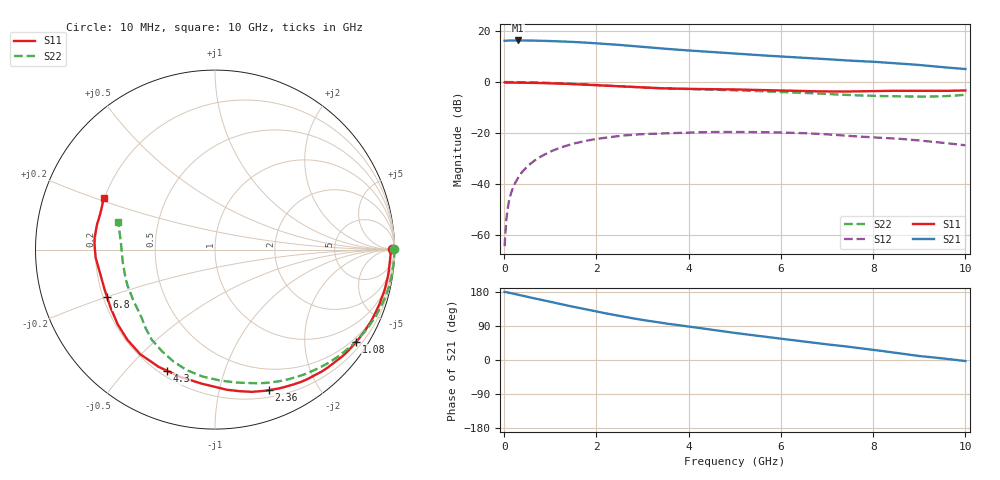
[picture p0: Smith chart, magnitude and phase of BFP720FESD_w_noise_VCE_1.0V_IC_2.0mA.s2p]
! Infineon Technologies  Discrete & RF Semiconductors
! BFP720FESD
! VCE =  1.0 V,  IC =  2.0 mA
! Common Emitter S-Parameters:  Jan 2016
# GHz  S  MA  R  50
!  f  S11  S21  S12  S22
! GHz  MAG  ANG  MAG  ANG  MAG  ANG  MAG  ANG
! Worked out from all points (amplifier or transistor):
!   233 points, 10 MHz to 10 GHz, reference 50 ohm
!   highest |S21| = 16.3 dB at 300 MHz (marker M1)
!   |S21| within 3 dB of that: start of sweep to 3.318 GHz
!   unconditionally stable (mu >= 1): 8.83 GHz to end of sweep
!   at 200 MHz: K = 0.00, MSG = 28.7 dB, |S12| = -41.1 dB
!   at 1.74 GHz: K = 0.11, MSG = 19.4 dB, |S12| = -23.2 dB
!   at 10 GHz: K = 1.44, MAG = 11.0 dB, |S12| = -24.8 dB
!   lowest NFmin = 0.41 dB at 450 MHz
!   S11 on the Smith chart (normalised r, x): 10 MHz: open; 1.08 GHz: 0.38, -3.33; 2.36 GHz: 0.27, -1.42; 4.3 GHz: 0.23, -0.66; 6.8 GHz: 0.22, -0.20; 10 GHz: 0.20, +0.21
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0.01  0.9882 0.3  6.478 179.7  0.0006 87.5  0.9951 0.2
0.04  0.9776 -1.2  6.459 179.1  0.0017 87.0  0.9991 -1.0
0.095  0.977 -2.9  6.513 177.9  0.0042 87.5  0.9992 -2.3
0.19  0.976 -5.8  6.544 175.3  0.0084 85.8  0.9981 -4.8
0.3  0.9748 -9.2  6.552 172.3  0.0131 83.5  0.9962 -7.5
0.7  0.9607 -21.6  6.497 161.6  0.0305 74.2  0.9808 -17.5
1.08  0.9403 -33.1  6.346 151.5  0.0461 65.2  0.9563 -27.0
1.4  0.9174 -42.8  6.186 142.9  0.0581 57.7  0.9297 -35.2
1.68  0.8955 -50.9  6.007 135.8  0.0673 51.2  0.9036 -42.1
1.94  0.8753 -58.1  5.802 129.4  0.0747 45.6  0.8792 -48.4
2.36  0.8387 -69.1  5.47 119.5  0.0847 37.1  0.8397 -58.1
2.8  0.8001 -80.3  5.094 109.8  0.0924 28.6  0.7998 -68.0
3  0.7839 -85.1  4.918 105.6  0.0949 24.9  0.7833 -72.0
3.4  0.7553 -93.4  4.574 98.4  0.0979 18.9  0.7565 -78.7
4.3  0.7261 -111.5  3.997 83.4  0.1035 7.1  0.7168 -92.4
5.1  0.7121 -127.2  3.573 70.0  0.1048 -3.4  0.6836 -104.8
6  0.6839 -142.3  3.184 56.3  0.1024 -14.0  0.6386 -117.6
6.8  0.6571 -156.2  2.881 44.4  0.0961 -23.1  0.5949 -128.8
8  0.6666 -176.2  2.504 26.8  0.0822 -32.2  0.5369 -147.4
8.4  0.6727 177.1  2.374 20.4  0.0787 -35.2  0.5272 -157.2
9  0.6721 168.1  2.161 10.5  0.0713 -39.8  0.5187 -172.4
10  0.683 155.1  1.8 -2.8  0.0574 -43.5  0.5613 163.9
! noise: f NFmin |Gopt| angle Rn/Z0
0.45  0.41  0.8  5  0.26
2.4  0.72  0.53  35  0.25
5.5  0.93  0.54  105  0.15
10  1.76  0.44  -167  0.09
